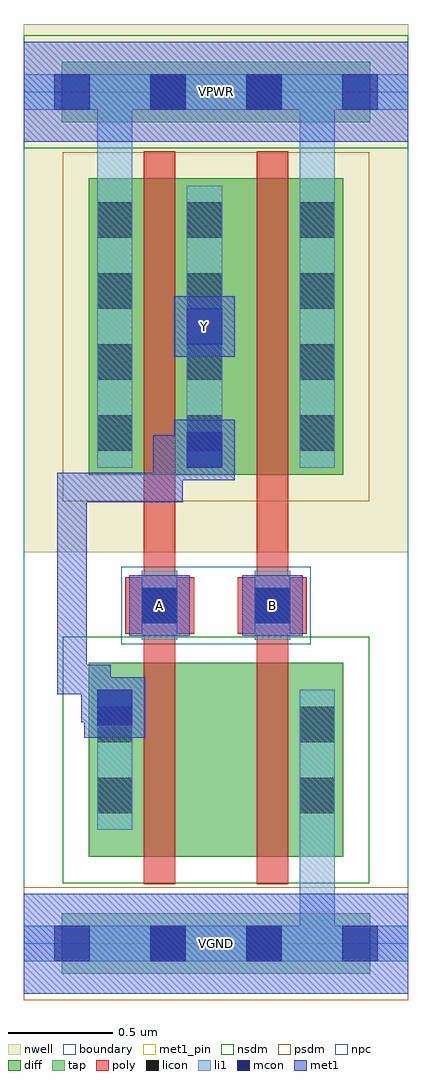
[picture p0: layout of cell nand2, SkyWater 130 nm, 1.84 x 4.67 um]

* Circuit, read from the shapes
.subckt nand2 A B VGND VPWR Y
XM1 n1 A Y VGND sky130_fd_pr__nfet_01v8 w=0.93 l=0.15
XM2 VGND B n1 VGND sky130_fd_pr__nfet_01v8 w=0.93 l=0.15
XM3 Y A VPWR VPWR sky130_fd_pr__pfet_01v8 w=1.42 l=0.15
XM4 VPWR B Y VPWR sky130_fd_pr__pfet_01v8 w=1.42 l=0.15
.ends

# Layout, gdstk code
import gdstk
lib = gdstk.Library(unit=1e-6, precision=1e-09)
def R(c, l, rs):  # rectangles x0, y0, x1, y1
    for r in rs: c.add(gdstk.rectangle(r[:2], r[2:], *l))
def A(c, l, x, y, w, h, nx, ny, dx, dy):  # array of equal rectangles
    R(c, l, [(x+i*dx, y+j*dy, x+i*dx+w, y+j*dy+h) for i in range(nx) for j in range(ny)])
nwell = (64, 20)
diff = (65, 20)
tap = (65, 44)
poly = (66, 20)
licon = (66, 44)
li1 = (67, 20)
mcon = (67, 44)
met1_pin = (68, 16)
met1 = (68, 20)
nsdm = (93, 44)
psdm = (94, 20)
npc = (95, 20)
boundary = (235, 4)

nand2 = lib.new_cell('nand2')
R(nand2, nwell, [(0,1.875,1.84,4.405)])
R(nand2, diff, [(0.31,0.415,1.53,1.345), (0.31,2.245,1.53,3.665)])
R(nand2, tap, [(0.18,-0.145,1.66,0.145), (0.18,3.935,1.66,4.225)])
R(nand2, poly, [(0.575,0.285,0.725,3.795), (1.115,0.285,1.265,3.795), (0.485,1.485,0.815,1.755), (1.025,1.485,1.355,1.755)])
A(nand2, licon, 0.35, 2.36, 0.17, 0.17, 1, 4, 0, 0.34)
A(nand2, licon, 0.78, 2.36, 0.17, 0.17, 1, 4, 0, 0.34)
A(nand2, licon, 1.32, 2.36, 0.17, 0.17, 1, 4, 0, 0.34)
R(nand2, licon, [(0.605,-0.085,0.775,0.085), (1.065,-0.085,1.235,0.085), (0.35,0.625,0.52,0.795), (1.32,0.625,1.49,0.795), (0.35,0.965,0.52,1.135), (1.32,0.965,1.49,1.135), (0.565,1.535,0.735,1.705), (1.105,1.535,1.275,1.705), (0.605,3.995,0.775,4.165), (1.065,3.995,1.235,4.165)])
R(nand2, li1, [(0,-0.085,1.84,0.085), (1.32,-0.085,1.49,1.215), (0.35,0.545,0.52,1.215), (1.32,0.545,1.49,1.215), (0.565,1.455,0.735,1.785), (1.105,1.455,1.275,1.785), (0.35,2.28,0.52,3.63), (0.35,2.28,0.52,4.165), (0.78,2.28,0.95,3.63), (1.32,2.28,1.49,3.63), (1.32,2.28,1.49,4.165), (0,3.995,1.84,4.165)])
A(nand2, mcon, 0.145, -0.085, 0.17, 0.17, 4, 2, 0.46, 4.08)
R(nand2, mcon, [(0.35,1.045,0.52,1.215), (0.565,1.535,0.735,1.705), (1.105,1.535,1.275,1.705), (0.78,2.28,0.95,2.45), (0.78,2.87,0.95,3.04)])
R(nand2, met1_pin, [(0,-0.24,1.84,0.24), (0.505,1.475,0.795,1.765), (1.045,1.475,1.335,1.765), (0.72,2.81,1.01,3.1), (0,3.84,1.84,4.32)])
R(nand2, met1, [(0,-0.24,1.84,0.24), (0.29,0.985,0.58,1.275), (0.275,1.06,0.505,1.2), (0.275,1.06,0.415,1.335), (0.16,1.195,0.415,1.335), (0.16,1.195,0.3,2.255), (0.505,1.475,0.795,1.765), (1.045,1.475,1.335,1.765), (0.16,2.115,0.76,2.255), (0.62,2.115,0.76,2.435), (0.72,2.22,1.01,2.51), (0.62,2.255,0.76,2.295), (0.62,2.255,0.76,2.295), (0.62,2.255,0.76,2.295), (0.62,2.255,0.76,2.295), (0.62,2.255,0.76,2.295), (0.62,2.255,0.76,2.295), (0.62,2.295,0.935,2.435), (0.72,2.81,1.01,3.1), (0,3.84,1.84,4.32)])
R(nand2, nsdm, [(0.185,0.29,1.655,1.47), (0,3.81,1.84,4.35)])
R(nand2, psdm, [(0,-0.27,1.84,0.27), (0.185,2.12,1.655,3.79)])
R(nand2, npc, [(0.465,1.435,1.375,1.805)])
R(nand2, boundary, [(0,0,1.84,4.08)])
nand2.add(gdstk.Label('A', (0.65,1.62), layer=68, texttype=5))
nand2.add(gdstk.Label('B', (1.19,1.62), layer=68, texttype=5))
nand2.add(gdstk.Label('Y', (0.865,2.955), layer=68, texttype=5))
nand2.add(gdstk.Label('VPWR', (0.92,4.08), layer=68, texttype=5))
nand2.add(gdstk.Label('VGND', (0.92,0), layer=68, texttype=5))
nand2.add(gdstk.Label('A', (0.65,1.62), layer=68, texttype=16))
nand2.add(gdstk.Label('B', (1.19,1.62), layer=68, texttype=16))
nand2.add(gdstk.Label('Y', (0.865,2.955), layer=68, texttype=16))
nand2.add(gdstk.Label('VPWR', (0.92,4.08), layer=68, texttype=16))
nand2.add(gdstk.Label('VGND', (0.92,0), layer=68, texttype=16))

lib.write_gds('nand2.gds')
